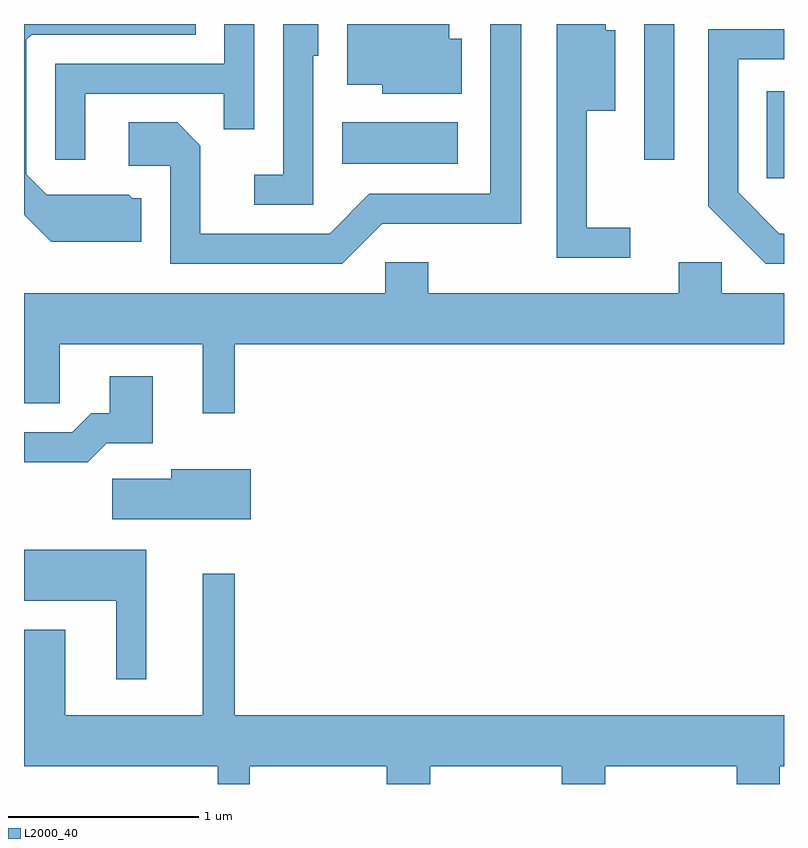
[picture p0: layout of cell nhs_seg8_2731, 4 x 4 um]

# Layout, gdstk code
import gdstk
lib = gdstk.Library(unit=1e-6, precision=1e-09)
def R(c, l, rs):  # rectangles x0, y0, x1, y1
    for r in rs: c.add(gdstk.rectangle(r[:2], r[2:], *l))
def P(c, l, *ps):  # polygons
    for p in ps: c.add(gdstk.Polygon(p, *l))
L2000_40 = (2000, 40)

nhs_seg8_2731 = lib.new_cell('nhs_seg8_2731')
R(nhs_seg8_2731, L2000_40, [(271.521,1819.531,271.611,1819.989), (269.286,1819.606,269.894,1819.824), (270.876,1819.628,271.034,1820.342)])
P(nhs_seg8_2731, L2000_40, [(269.134,1820.176),(269.159,1820.176),(269.159,1820.342),(268.976,1820.342),(268.976,1819.549),(268.823,1819.549),(268.823,1819.391),(269.134,1819.391)],
  [(269.914,1820.264),(269.849,1820.264),(269.849,1820.342),(269.311,1820.342),(269.311,1820.021),(269.496,1820.021),(269.496,1819.976),(269.914,1819.976)],
  [(267.934,1819.976),(268.661,1819.976),(268.661,1819.788),(268.824,1819.788),(268.824,1820.342),(268.666,1820.342),(268.666,1820.134),(267.776,1820.134),(267.776,1819.628),(267.934,1819.628)],
  [(270.803,1819.269),(270.574,1819.269),(270.574,1819.886),(270.724,1819.886),(270.724,1820.309),(270.674,1820.309),(270.674,1820.342),(270.416,1820.342),(270.416,1819.111),(270.803,1819.111)],
  [(268.229,1819.424),(268.182,1819.424),(268.162,1819.444),(267.732,1819.444),(267.624,1819.552),(267.624,1820.259),(267.652,1820.286),(268.514,1820.286),(268.514,1820.342),(267.611,1820.342),(267.611,1819.339),(267.754,1819.196),(268.229,1819.196)],
  [(269.497,1819.291),(270.229,1819.291),(270.229,1820.342),(270.066,1820.342),(270.066,1819.449),(269.429,1819.449),(269.219,1819.239),(268.539,1819.239),(268.539,1819.702),(268.417,1819.824),(268.161,1819.824),(268.161,1819.596),(268.381,1819.596),(268.381,1819.081),(269.287,1819.081)],
  [(271.611,1819.239),(271.587,1819.239),(271.369,1819.457),(271.369,1820.156),(271.611,1820.156),(271.611,1820.314),(271.211,1820.314),(271.211,1819.384),(271.514,1819.081),(271.611,1819.081)],
  [(268.719,1818.656),(271.611,1818.656),(271.611,1818.924),(271.284,1818.924),(271.284,1819.089),(271.056,1819.089),(271.056,1818.924),(269.739,1818.924),(269.739,1819.089),(269.511,1819.089),(269.511,1818.924),(267.611,1818.924),(267.611,1818.346),(267.799,1818.346),(267.799,1818.656),(268.551,1818.656),(268.551,1818.293),(268.719,1818.293)],
  [(268.047,1818.136),(268.289,1818.136),(268.289,1818.489),(268.061,1818.489),(268.061,1818.294),(267.964,1818.294),(267.864,1818.194),(267.611,1818.194),(267.611,1818.036),(267.947,1818.036)],
  [(268.804,1817.999),(268.386,1817.999),(268.386,1817.949),(268.076,1817.949),(268.076,1817.736),(268.804,1817.736)],
  [(268.254,1817.574),(267.611,1817.574),(267.611,1817.306),(268.096,1817.306),(268.096,1816.893),(268.254,1816.893)],
  [(268.799,1816.436),(269.521,1816.436),(269.521,1816.342),(269.749,1816.342),(269.749,1816.436),(270.441,1816.436),(270.441,1816.342),(270.669,1816.342),(270.669,1816.436),(271.361,1816.436),(271.361,1816.342),(271.589,1816.342),(271.589,1816.436),(271.611,1816.436),(271.611,1816.704),(268.719,1816.704),(268.719,1817.448),(268.551,1817.448),(268.551,1816.704),(267.829,1816.704),(267.829,1817.154),(267.611,1817.154),(267.611,1816.436),(268.631,1816.436),(268.631,1816.342),(268.799,1816.342)])

lib.write_gds('nhs_seg8_2731.gds')
